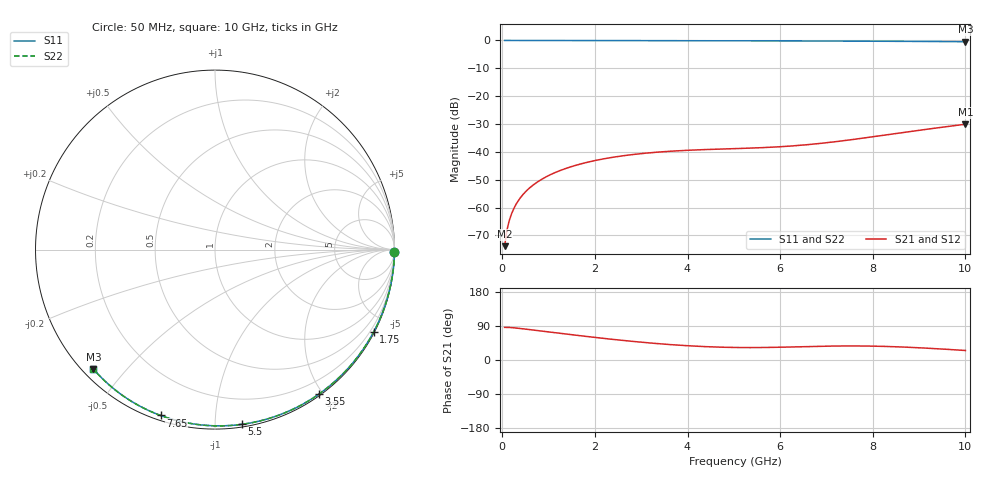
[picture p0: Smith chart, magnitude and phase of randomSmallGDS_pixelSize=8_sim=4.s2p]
! freq	dB(S11)	phase(S11)	dB(S12)	phase(S12)
!  dB(S21)	phase(S21)	dB(S22)	phase(S22)
!S-par simulation data
#  GHz  S  DB  R 50
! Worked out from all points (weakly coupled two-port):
!   200 points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, 50 MHz to 10 GHz, reference 50 ohm
!   highest |S21| = -30.09 dB at 10 GHz (marker M1); lowest = -73.9 dB at 50 MHz (marker M2)
!   lowest |S11| = -0.4 dB at 10 GHz (marker M3), VSWR 38.69, Z = 1.51 - j20.4 ohm
!   |S11| at or under -10 dB: nowhere
!   |S22| runs from -0.4 to 0.0 dB; largest |S21 - S12| = 0
!   S11 on the Smith chart (normalised r, x): 50 MHz: open; 1.75 GHz: 0.04, -4.09; 3.55 GHz: 0.02, -1.95; 5.5 GHz: 0.02, -1.17; 7.65 GHz: 0.02, -0.72; 10 GHz: 0.03, -0.41
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0.05  -0.00 -0.8  -73.89 86.1  -73.89 86.1  -0.00 -0.8
0.1  -0.00 -1.6  -68.14 86.0  -68.14 86.0  -0.00 -1.6
0.15  -0.00 -2.4  -64.71 85.8  -64.71 85.8  -0.00 -2.4
0.2  -0.00 -3.2  -62.25 85.4  -62.25 85.4  -0.00 -3.2
0.25  -0.00 -4.0  -60.34 84.9  -60.34 84.9  -0.00 -4.0
0.35  -0.00 -5.6  -57.44 83.7  -57.44 83.7  -0.00 -5.6
0.5  -0.01 -8.0  -54.38 81.6  -54.38 81.6  -0.01 -8.0
0.7  -0.01 -11.1  -51.51 78.6  -51.51 78.6  -0.01 -11.1
1  -0.02 -15.8  -48.53 74.1  -48.53 74.1  -0.02 -15.8
1.35  -0.03 -21.3  -46.10 68.9  -46.10 68.9  -0.03 -21.3
1.75  -0.03 -27.5  -44.10 63.1  -44.10 63.1  -0.03 -27.4
2.5  -0.05 -38.9  -41.67 53.0  -41.67 53.0  -0.05 -38.8
3.4  -0.07 -52.1  -40.05 42.8  -40.05 42.8  -0.07 -52.1
3.55  -0.07 -54.3  -39.87 41.4  -39.87 41.4  -0.07 -54.3
4.3  -0.09 -64.9  -39.24 35.7  -39.24 35.7  -0.09 -64.9
5.05  -0.11 -75.2  -38.84 33.0  -38.84 33.0  -0.11 -75.2
5.5  -0.13 -81.2  -38.58 32.8  -38.58 32.8  -0.13 -81.2
6.7  -0.18 -96.5  -37.26 35.8  -37.26 35.8  -0.18 -96.5
7.65  -0.24 -108.2  -35.39 37.1  -35.39 37.1  -0.24 -108.1
8.35  -0.29 -116.5  -33.78 35.5  -33.78 35.5  -0.29 -116.4
9.2  -0.37 -126.4  -31.82 31.0  -31.82 31.0  -0.37 -126.3
10  -0.45 -135.5  -30.09 25.1  -30.09 25.1  -0.45 -135.5
